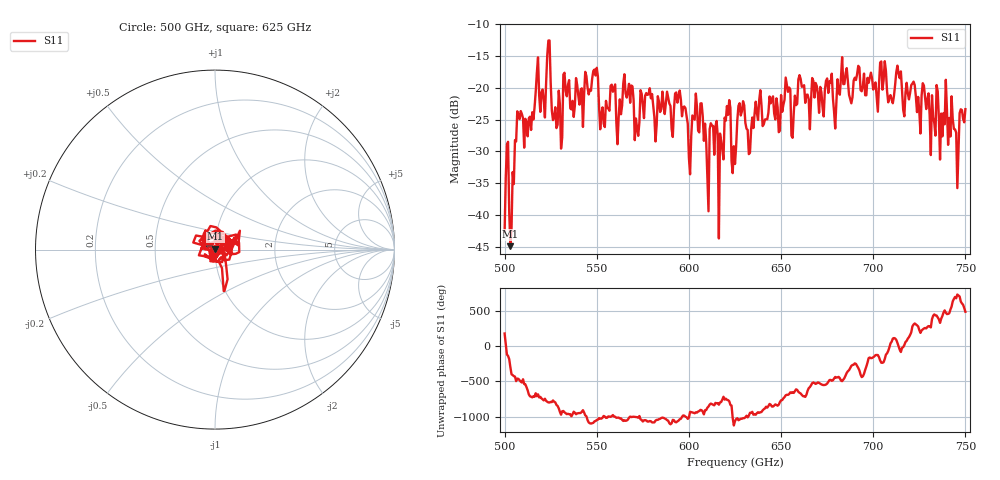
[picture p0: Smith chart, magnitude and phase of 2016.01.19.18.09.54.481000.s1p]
!Created with skrf (http://scikit-rf.org).
# GHz S RI R 50.0
!freq ReS11 ImS11
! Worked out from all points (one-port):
!   401 points, 500 GHz to 750 GHz, reference 50 ohm
!   lowest |S11| = -44.9 dB at 503.1 GHz (marker M1), VSWR 1.01, Z = 50.3 + j0.502 ohm
!   |S11| at or under -10 dB: start of sweep to end of sweep
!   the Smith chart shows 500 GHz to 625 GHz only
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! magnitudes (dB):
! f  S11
! 500 GHz  -42.6
! 503.1 GHz  -44.9
! 508.1 GHz  -24.9
! 520.6 GHz  -20.3
! 523.8 GHz  -12.5
! 526.9 GHz  -24.6
! 531.2 GHz  -27.8
! 549.4 GHz  -18.1
! 553.1 GHz  -23.1
! 558.8 GHz  -20.6
! 562.5 GHz  -21.8
! 593.8 GHz  -22.3
! 600 GHz  -31.0
! 607.5 GHz  -24.5
! 609.4 GHz  -28.5
! 613.8 GHz  -30.5
! 617.5 GHz  -28.4
! 621.2 GHz  -24.2
! 625 GHz  -32.0
! 628.1 GHz  -24.3
! 632.5 GHz  -30.4
! 653.8 GHz  -20.6
! 656.2 GHz  -27.9
! 660.6 GHz  -18.6
! 687.5 GHz  -21.8
! 718.8 GHz  -20.8
! 745 GHz  -27.0
! 750 GHz  -23.3
